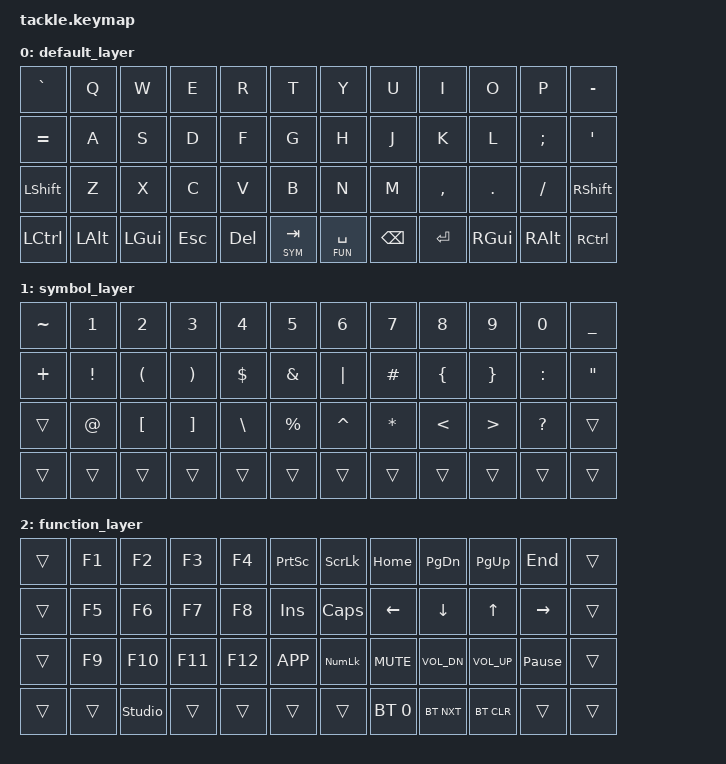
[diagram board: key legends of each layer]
/*
 * Copyright (c) 2024 The ZMK Contributors
 *
 * SPDX-License-Identifier: MIT
 */

#include <behaviors.dtsi>
#include <dt-bindings/zmk/keys.h>
#include <dt-bindings/zmk/bt.h>

#define DEF 0
#define SYM 1
#define FUN 2

&lt {
    tapping-term-ms = <180>;
    flavor = "tap-preferred";
};

/ {
    keymap {
        compatible = "zmk,keymap";

        default_layer {
            bindings = <
                &kp GRAVE &kp Q    &kp W    &kp E     &kp R   &kp T       &kp Y         &kp U    &kp I     &kp O    &kp P     &kp MINUS
                &kp EQUAL &kp A    &kp S    &kp D     &kp F   &kp G       &kp H         &kp J    &kp K     &kp L    &kp SEMI  &kp SQT
                &kp LSHFT &kp Z    &kp X    &kp C     &kp V   &kp B       &kp N         &kp M    &kp COMMA &kp DOT  &kp SLASH &kp RSHFT
                &kp LCTRL &kp LALT &kp LGUI &kp ESC   &kp DEL &lt SYM TAB &lt FUN SPACE &kp BSPC &kp ENTER &kp RGUI &kp RALT  &kp RCTRL
            >;
        };

        symbol_layer {
            bindings = <
                &kp TILDE &kp N1   &kp N2   &kp N3   &kp N4   &kp N5    &kp N6    &kp N7    &kp N8   &kp N9   &kp N0    &kp UNDER
                &kp PLUS  &kp EXCL &kp LPAR &kp RPAR &kp DLLR &kp AMPS  &kp PIPE  &kp HASH  &kp LBRC &kp RBRC &kp COLON &kp DQT
                &trans    &kp AT   &kp LBKT &kp RBKT &kp BSLH &kp PRCNT &kp CARET &kp ASTRK &kp LT   &kp GT   &kp QMARK &trans
                &trans    &trans   &trans   &trans   &trans   &trans    &trans    &trans    &trans   &trans   &trans    &trans
            >;
        };

        function_layer {
            bindings = <
                &trans &kp F1  &kp F2         &kp F3  &kp F4  &kp PSCRN &kp SLCK   &kp HOME     &kp PG_DN    &kp PG_UP    &kp END         &trans
                &trans &kp F5  &kp F6         &kp F7  &kp F8  &kp INS   &kp CLCK   &kp LEFT     &kp DOWN     &kp UP       &kp RIGHT       &trans
                &trans &kp F9  &kp F10        &kp F11 &kp F12 &kp K_APP &kp KP_NUM &kp C_MUTE   &kp C_VOL_DN &kp C_VOL_UP &kp PAUSE_BREAK &trans
                &trans &trans  &studio_unlock &trans  &trans  &trans    &trans     &bt BT_SEL 0 &bt BT_NXT   &bt BT_CLR   &trans          &trans
            >;
        };
    };
};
